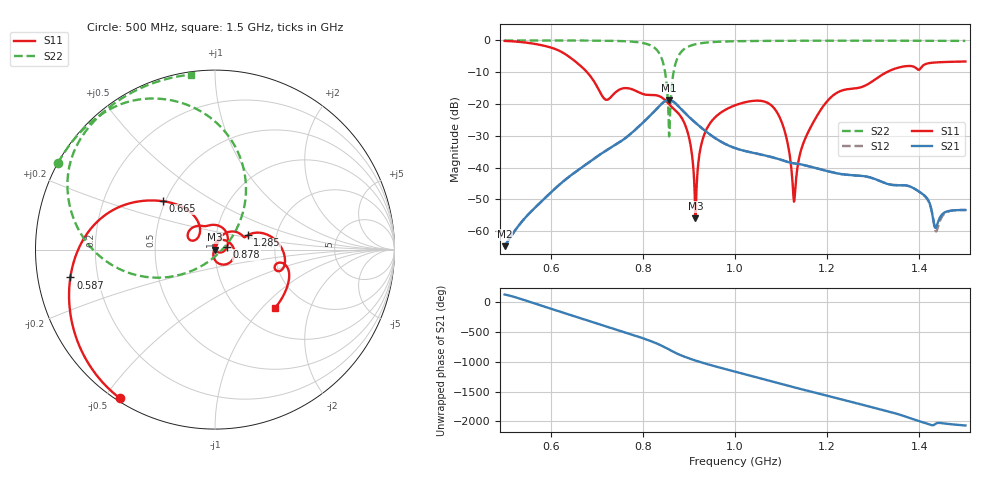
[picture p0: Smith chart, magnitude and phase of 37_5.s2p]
! TOUCHSTONE file generated by CST MICROWAVE STUDIO
! Date and time: Fri Oct  2 19:16:34 2020
! Project name: Scenario_1_Free_Space_out_of_line.cst
! Parameters = {Lambda=346.42; Step_1=17.321; dy1=-276.636; dx1=866; L_HA=400; MT=2.54; Rad_Dielectric=30; Rad_Lower=7.3; Rad_Upper=30; a_HA=580; a_WG=246; b_HA=500; b_WG=121; c_HA=0; c_WG=187; d_feed=85; h_feed=15; h_lower=18; h_upper=40}
! Header version: 2018
! Port assignment regex: !\s*Touchstone port\s*([0-9]+)\s*=\s*(CST MWS port|CST DS port)\s*([0-9]+|Zmin|Zmax)\s*\(\"(.*)\"\)(\s*mode\s*([0-9]+))?.*
! Touchstone port assignment:
! Touchstone port 1 = CST MWS port 1 ("")
! Touchstone port 2 = CST MWS port 2 ("")
# GHz S DB R 50
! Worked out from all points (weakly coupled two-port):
!   1003 points, 500 MHz to 1.5 GHz, reference 50 ohm
!   highest |S21| = -18.74 dB at 856 MHz (marker M1); lowest = -64.7 dB at 500 MHz (marker M2)
!   lowest |S11| = -56.0 dB at 914 MHz (marker M3), VSWR 1.00, Z = 49.9 - j0.128 ohm
!   |S11| at or under -10 dB: 679 MHz to 1.329 GHz (650.1 MHz wide, 64.8 % of centre)
!   |S22| runs from -30.2 to 0.0 dB; largest |S21 - S12| = 0.00023
!   S11 on the Smith chart (normalised r, x): 500 MHz: 0.01, -0.55; 587 MHz: 0.10, -0.09; 665 MHz: 0.48, +0.31; 878 MHz: 1.15, +0.04; 1.285 GHz: 1.42, +0.24; 1.5 GHz: 1.43, -1.19
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0.5  -0.15 -122.6  -64.73 132.4  -64.73 132.4  -0.01 151.1
0.587  -1.71 -169.1  -49.69 -73.5  -49.69 -73.5  -0.02 145.1
0.665  -8.01 137.2  -40.22 93.2  -40.22 93.2  -0.04 138.5
0.667  -8.27 136.0  -40.01 88.3  -40.01 88.3  -0.04 138.3
0.719  -18.61 140.2  -34.76 -40.7  -34.76 -40.7  -0.10 132.3
0.834  -17.45 80.5  -20.92 16.4  -20.92 16.4  -3.66 84.9
0.856  -19.94 45.6  -18.74 -69.2  -18.74 -69.2  -25.09 15.4
0.878  -23.11 13.3  -20.81 -154.2  -20.81 -154.2  -4.72 -171.5
0.9  -30.43 -32.6  -24.03 139.9  -24.03 139.9  -1.85 167.5
0.914  -55.96 -126.4  -25.88 103.3  -25.88 103.3  -1.21 160.1
0.938  -28.01 84.5  -28.75 46.0  -28.76 46.0  -0.67 151.9
1  -20.42 18.2  -33.87 -83.1  -33.87 -82.8  -0.25 140.1
1.088  -21.92 -74.9  -37.04 93.1  -37.05 93.0  -0.13 130.7
1.111  -30.26 -108.2  -38.06 47.0  -38.08 47.2  -0.12 128.7
1.128  -50.72 161.5  -38.67 11.8  -38.65 12.1  -0.11 127.3
1.167  -26.52 69.4  -39.82 -64.1  -39.85 -64.0  -0.09 124.1
1.215  -17.06 46.0  -41.63 -159.9  -41.63 -159.9  -0.09 120.4
1.285  -14.04 23.7  -42.82 61.5  -42.82 61.3  -0.08 115.1
1.334  -9.65 11.4  -45.28 -37.6  -45.21 -37.4  -0.09 111.4
1.41  -7.69 -13.4  -48.65 140.1  -48.74 139.4  -0.10 105.4
1.437  -6.91 -26.5  -58.55 126.3  -60.05 120.1  -0.11 103.2
1.5  -6.62 -44.2  -53.36 90.7  -53.33 90.9  -0.14 97.8
